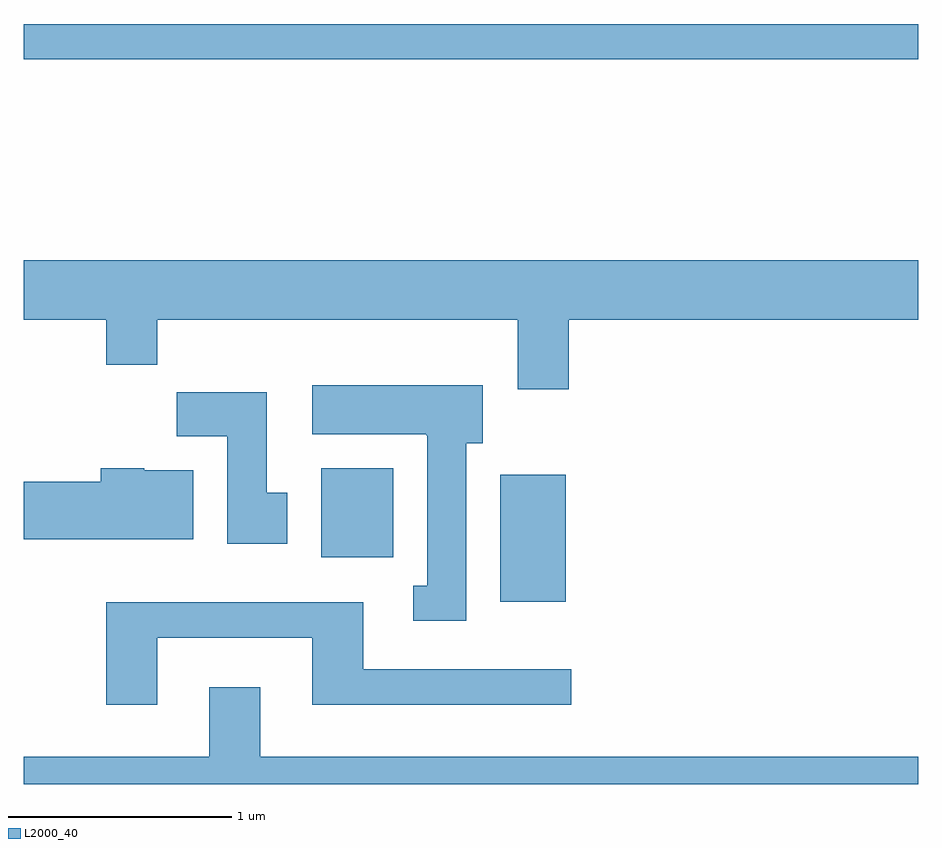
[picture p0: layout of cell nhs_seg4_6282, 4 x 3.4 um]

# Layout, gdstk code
import gdstk
lib = gdstk.Library(unit=1e-6, precision=1e-09)
def R(c, l, rs):  # rectangles x0, y0, x1, y1
    for r in rs: c.add(gdstk.rectangle(r[:2], r[2:], *l))
def P(c, l, *ps):  # polygons
    for p in ps: c.add(gdstk.Polygon(p, *l))
L2000_40 = (2000, 40)

nhs_seg4_6282 = lib.new_cell('nhs_seg4_6282')
R(nhs_seg4_6282, L2000_40, [(371.741,1306.796,372.034,1307.364), (370.941,1306.996,371.264,1307.394), (369.611,1309.221,373.611,1309.379)])
P(nhs_seg4_6282, L2000_40, [(372.049,1308.056),(373.611,1308.056),(373.611,1308.324),(369.611,1308.324),(369.611,1308.056),(369.981,1308.056),(369.981,1307.856),(370.209,1307.856),(370.209,1308.056),(371.821,1308.056),(371.821,1307.746),(372.049,1307.746)],
  [(371.589,1307.506),(371.664,1307.506),(371.664,1307.764),(370.901,1307.764),(370.901,1307.546),(371.41,1307.546),(371.41,1307.54),(371.416,1307.54),(371.416,1306.869),(371.353,1306.869),(371.353,1306.711),(371.589,1306.711)],
  [(370.789,1307.284),(370.699,1307.284),(370.699,1307.734),(370.296,1307.734),(370.296,1307.536),(370.521,1307.536),(370.521,1307.056),(370.789,1307.056)],
  [(370.369,1307.384),(370.15,1307.384),(370.15,1307.394),(369.956,1307.394),(369.956,1307.334),(369.611,1307.334),(369.611,1307.076),(370.369,1307.076)],
  [(370.209,1306.636),(370.901,1306.636),(370.901,1306.336),(372.058,1306.336),(372.058,1306.494),(371.129,1306.494),(371.129,1306.794),(369.981,1306.794),(369.981,1306.336),(370.209,1306.336)],
  [(373.611,1306.104),(370.669,1306.104),(370.669,1306.414),(370.441,1306.414),(370.441,1306.104),(369.611,1306.104),(369.611,1305.982),(373.611,1305.982)])

lib.write_gds('nhs_seg4_6282.gds')
